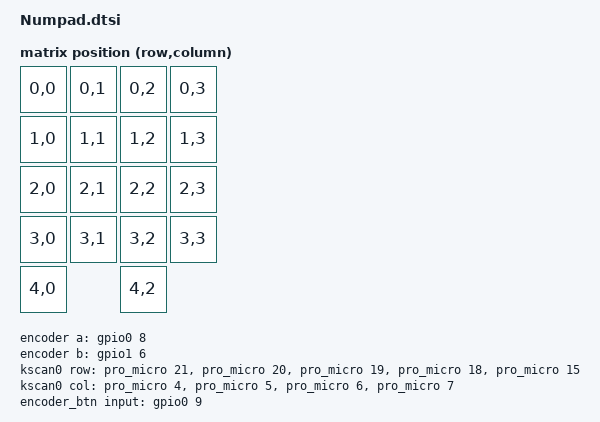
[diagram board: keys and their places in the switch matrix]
#include <dt-bindings/zmk/matrix_transform.h>

/ {
    chosen {
        zmk,kscan = &kscan0;
        zmk,matrix-transform = &default_transform;
    };

	encoder: encoder_0 {
		compatible = "alps,ec11";
		a-gpios = <&gpio0 8 (GPIO_ACTIVE_HIGH | GPIO_PULL_UP)>;
		b-gpios = <&gpio1 6 (GPIO_ACTIVE_HIGH | GPIO_PULL_UP)>;
		steps = <80>;
		status = "okay";
	};

	sensors: sensors {
        compatible = "zmk,keymap-sensors";
        sensors = <&encoder>;
        triggers-per-rotation = <20>;
    };

    default_transform: keymap_transform_0 {
        compatible = "zmk,matrix-transform";
        columns = <4>;
        rows = <5>;
        map = <
    RC(0,0) RC(0,1) RC(0,2) RC(0,3)
    RC(1,0) RC(1,1) RC(1,2) RC(1,3)
    RC(2,0) RC(2,1) RC(2,2) RC(2,3)
    RC(3,0) RC(3,1) RC(3,2) RC(3,3)
    RC(4,0)         RC(4,2)
        >;
    };
	
    kscan0: kscan {
        compatible = "zmk,kscan-gpio-matrix";

        diode-direction = "col2row";
        row-gpios
            = <&pro_micro 21 (GPIO_ACTIVE_HIGH | GPIO_PULL_DOWN)>   /* row 0 */
            , <&pro_micro 20 (GPIO_ACTIVE_HIGH | GPIO_PULL_DOWN)>   /* row 1 */
            , <&pro_micro 19 (GPIO_ACTIVE_HIGH | GPIO_PULL_DOWN)>   /* row 2 */
            , <&pro_micro 18 (GPIO_ACTIVE_HIGH | GPIO_PULL_DOWN)>   /* row 3 */
            , <&pro_micro 15 (GPIO_ACTIVE_HIGH | GPIO_PULL_DOWN)>   /* row 4 */
            ;

        col-gpios
            = <&pro_micro 4 GPIO_ACTIVE_HIGH>   /* col 0 */
            , <&pro_micro 5 GPIO_ACTIVE_HIGH>   /* col 1 */
            , <&pro_micro 6 GPIO_ACTIVE_HIGH>   /* col 2 */
            , <&pro_micro 7 GPIO_ACTIVE_HIGH>   /* col 3 */
            ;
    };
	
	encoder_btn: encoder_btn {
        compatible = "zmk,kscan-gpio-direct";
        input-gpios = <&gpio0 9 (GPIO_ACTIVE_LOW | GPIO_PULL_UP)>;
    };
};
